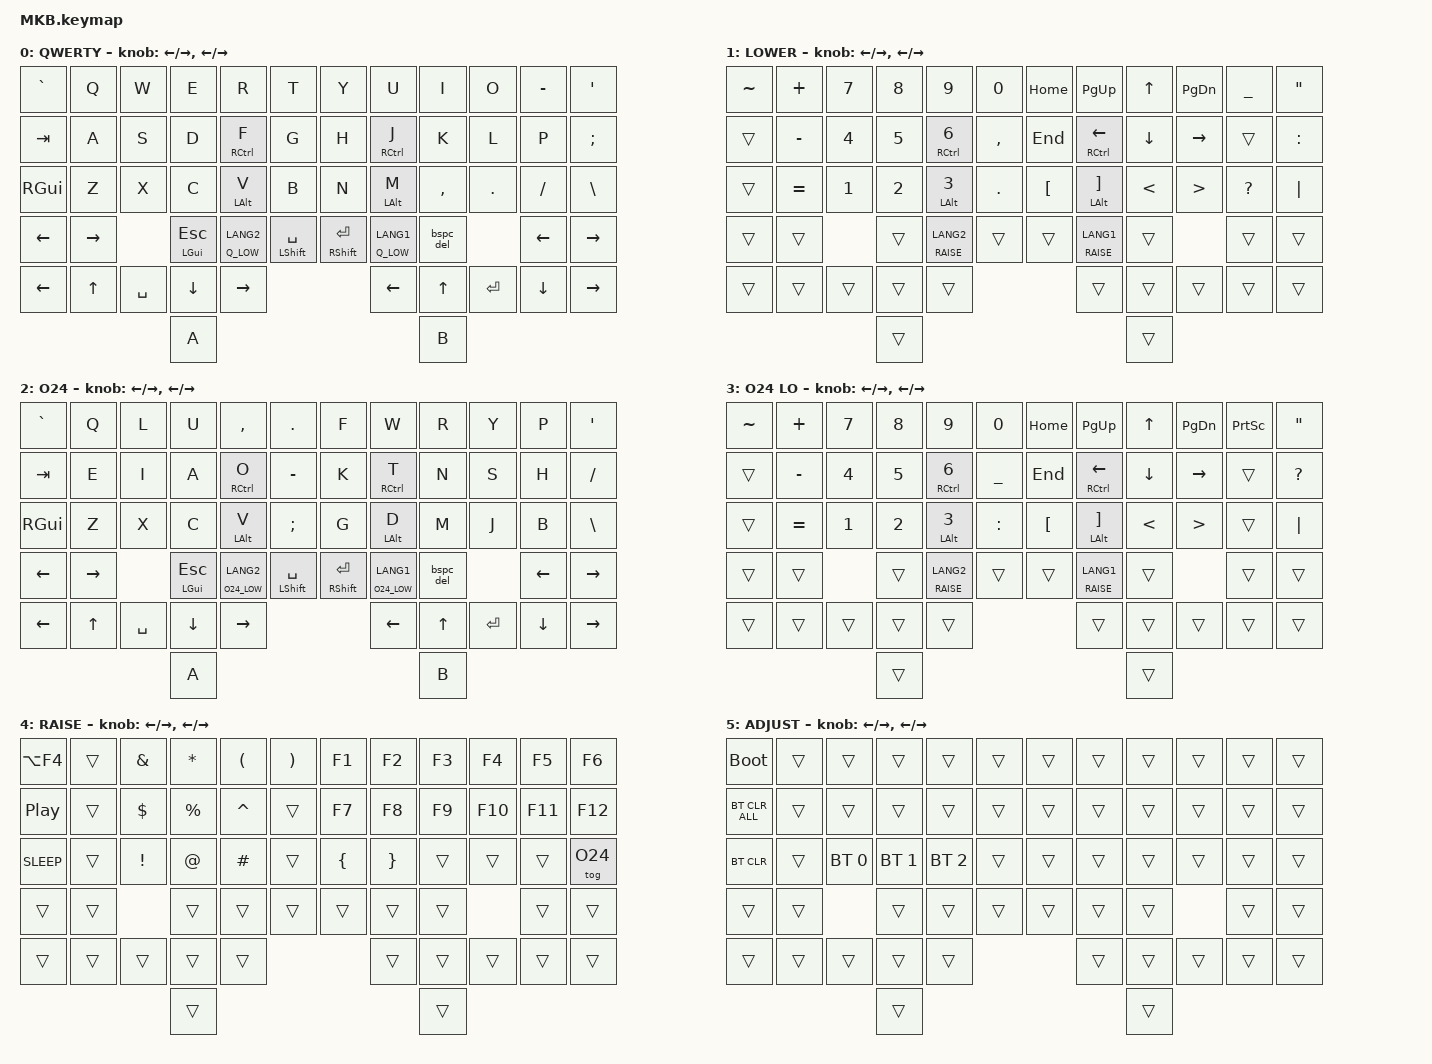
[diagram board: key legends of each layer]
#include <behaviors.dtsi>
#include <dt-bindings/zmk/bt.h>
#include <dt-bindings/zmk/keys.h>
#include <dt-bindings/zmk/pointing.h>
#include <layout_shift_kp_override.dtsi>

#define QWERTY  0
#define Q_LOW   1
#define O24     2
#define O24_LOW 3
#define RAISE   4
#define ADJUST  5

/ {
    behaviors {
        hm: homerow_mods {
            compatible = "zmk,behavior-hold-tap";
            #binding-cells = <2>;
            bindings = <&kp>, <&kp>;

            flavor = "balanced";
            tapping-term-ms = <180>;
            quick-tap-ms = <180>;
            require-prior-idle-ms = <125>;
        };

        bspc_del: backspace_delete {
            compatible = "zmk,behavior-mod-morph";
            display-name = "Backspace/Delete";
            #binding-cells = <0>;
            bindings = <&kp BACKSPACE>, <&kp DELETE>;
            mods = <(MOD_LSFT|MOD_RSFT)>;
        };

        tdquit: tap_dance_quit {
            compatible = "zmk,behavior-tap-dance";
            display-name = "Tap Dance/App Quit";
            #binding-cells = <0>;
            bindings = <&kp TILDE>, <&kp LA(F4)>;
            tapping-term-ms = <180>;
        };
    };

    keymap {
        compatible = "zmk,keymap";

        qwerty_layer {
            display-name = "QWERTY";
            bindings = <
&kp GRAVE           &kp Q               &kp W               &kp E               &kp R               &kp T               &kp Y               &kp U               &kp I               &kp O               &kp MINUS           &kp SQT
&kp TAB             &kp A               &kp S               &kp D               &hm RCTRL F         &kp G               &kp H               &hm RCTRL J         &kp K               &kp L               &kp P               &kp SEMI
&kp RGUI            &kp Z               &kp X               &kp C               &hm LALT V          &kp B               &kp N               &hm LALT M          &kp COMMA           &kp DOT             &kp FSLH            &kp BSLH
&kp LEFT            &kp RIGHT                               &hm LGUI ESC        &lt Q_LOW LANG2     &hm LSHIFT SPACE    &hm RSHIFT ENTER    &lt Q_LOW LANG1     &bspc_del                               &kp LEFT            &kp RIGHT
&kp LEFT            &kp UP              &kp SPACE           &kp DOWN            &kp RIGHT                                                   &kp LEFT            &kp UP              &kp ENTER           &kp DOWN            &kp RIGHT
                                                            &kp A                                                                                               &kp B
            >;
            sensor-bindings = <&inc_dec_kp LEFT RIGHT &inc_dec_kp LEFT RIGHT>;
        };

        qwerty_lower_layer {
            display-name = "LOWER";
            bindings = <
&kp TILDE           &kp PLUS            &kp N7              &kp N8              &kp N9              &kp N0              &kp HOME            &kp PG_UP           &kp UP              &kp PG_DN           &kp UNDER           &kp DQT
&trans              &kp MINUS           &kp N4              &kp N5              &hm RCTRL N6        &kp COMMA           &kp END             &hm RCTRL LEFT      &kp DOWN            &kp RIGHT           &trans              &kp COLON
&trans              &kp EQUAL           &kp N1              &kp N2              &hm LALT  N3        &kp DOT             &kp LBKT            &hm LALT  RBKT      &kp LT              &kp GT              &kp QMARK           &kp PIPE
&trans              &trans                                  &trans              &lt RAISE LANG2     &trans              &trans              &lt RAISE LANG1     &trans                                  &trans              &trans
&trans              &trans              &trans              &trans              &trans                                                      &trans              &trans              &trans              &trans              &trans
                                                            &trans                                                                                              &trans
            >;
            sensor-bindings = <&inc_dec_kp LEFT RIGHT &inc_dec_kp LEFT RIGHT>;
        };

        o24_layer {
            display-name = "O24";
            bindings = <
&kp GRAVE           &kp Q               &kp L               &kp U               &kp COMMA           &kp DOT             &kp F               &kp W               &kp R               &kp Y               &kp P               &kp SQT
&kp TAB             &kp E               &kp I               &kp A               &hm RCTRL O         &kp MINUS           &kp K               &hm RCTRL T         &kp N               &kp S               &kp H               &kp FSLH
&kp RGUI            &kp Z               &kp X               &kp C               &hm LALT  V         &kp SEMI            &kp G               &hm LALT  D         &kp M               &kp J               &kp B               &kp BSLH
&kp LEFT            &kp RIGHT                               &hm LGUI ESC        &lt O24_LOW LANG2   &hm LSHIFT SPACE    &hm RSHIFT ENTER    &lt O24_LOW LANG1   &bspc_del                               &kp LEFT            &kp RIGHT
&kp LEFT            &kp UP              &kp SPACE           &kp DOWN            &kp RIGHT                                                   &kp LEFT            &kp UP              &kp ENTER           &kp DOWN            &kp RIGHT
                                                            &kp A                                                                                               &kp B
            >;
            sensor-bindings = <&inc_dec_kp LEFT RIGHT &inc_dec_kp LEFT RIGHT>;
        };

        o24_lower_layer {
            display-name = "O24 LO";
            bindings = <
&kp TILDE           &kp PLUS            &kp N7              &kp N8              &kp N9              &kp N0              &kp HOME            &kp PG_UP           &kp UP              &kp PG_DN           &kp PSCRN           &kp DQT
&trans              &kp MINUS           &kp N4              &kp N5              &hm RCTRL N6        &kp UNDER           &kp END             &hm RCTRL LEFT      &kp DOWN            &kp RIGHT           &trans              &kp QMARK
&trans              &kp EQUAL           &kp N1              &kp N2              &hm LALT  N3        &kp COLON           &kp LBKT            &hm LALT  RBKT      &kp LT              &kp GT              &trans              &kp PIPE
&trans              &trans                                  &trans              &lt RAISE LANG2     &trans              &trans              &lt RAISE LANG1     &trans                                  &trans              &trans
&trans              &trans              &trans              &trans              &trans                                                      &trans              &trans              &trans              &trans              &trans
                                                            &trans                                                                                              &trans
            >;
            sensor-bindings = <&inc_dec_kp LEFT RIGHT &inc_dec_kp LEFT RIGHT>;
        };

        raise_layer {
            display-name = "RAISE";
            bindings = <
&kp LA(F4)          &trans              &kp AMPS            &kp ASTRK           &kp LPAR            &kp RPAR            &kp F1              &kp F2              &kp F3              &kp F4              &kp F5              &kp F6
&kp C_PLAY_PAUSE    &trans              &kp DLLR            &kp PRCNT           &kp CARET           &trans              &kp F7              &kp F8              &kp F9              &kp F10             &kp F11             &kp F12
&kp C_SLEEP         &trans              &kp EXCL            &kp AT              &kp HASH            &trans              &kp LBRC            &kp RBRC            &trans              &trans              &trans              &tog O24
&trans              &trans                                  &trans              &trans              &trans              &trans              &trans              &trans                                  &trans              &trans
&trans              &trans              &trans              &trans              &trans                                                      &trans              &trans              &trans              &trans              &trans
                                                            &trans                                                                                              &trans
            >;
            sensor-bindings = <&inc_dec_kp LEFT RIGHT &inc_dec_kp LEFT RIGHT>;
        };

        adjust_layer {
            display-name = "ADJUST";
            bindings = <
&bootloader         &trans              &trans              &trans              &trans              &trans              &trans              &trans              &trans              &trans              &trans              &trans
&bt BT_CLR_ALL      &trans              &trans              &trans              &trans              &trans              &trans              &trans              &trans              &trans              &trans              &trans
&bt BT_CLR          &trans              &bt BT_SEL 0        &bt BT_SEL 1        &bt BT_SEL 2        &trans              &trans              &trans              &trans              &trans              &trans              &trans
&trans              &trans                                  &trans              &trans              &trans              &trans              &trans              &trans                                  &trans              &trans
&trans              &trans              &trans              &trans              &trans                                                      &trans              &trans              &trans              &trans              &trans
                                                            &trans                                                                                              &trans
            >;
            sensor-bindings = <&inc_dec_kp LEFT RIGHT &inc_dec_kp LEFT RIGHT>;
        };
    };
};

